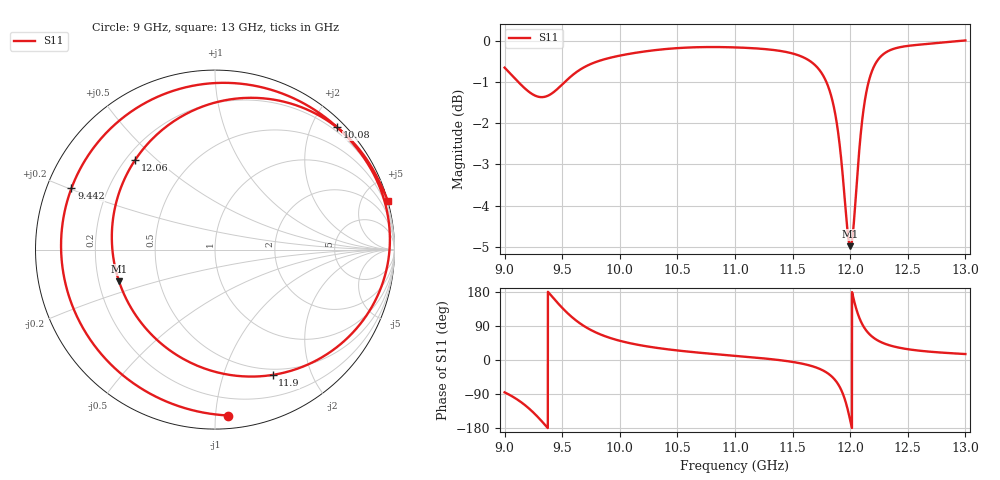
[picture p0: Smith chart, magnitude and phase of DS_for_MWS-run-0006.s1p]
! TOUCHSTONE file generated by CST DESIGN STUDIO
! Date and time: Tue Feb  4 14:26:49 2025
! Project name: C:\Work\MatlabApps\UnitCellOptimizationMatlab\CST\unitcell.cst
! Tree item: Tasks\Sweep1\SPara1\S-Parameters
! Header version: 2024
! Port assignment regex: !\s*Touchstone port\s*([0-9]+)\s*=\s*(CST MWS port|CST DES external port|CST DES block port)\s*(.+)\s* \(\"(.*)\"\)(\s*mode\s*([0-9]+))?.*
! Touchstone port assignment:
! Touchstone port 1 = CST DES external port 1 ("")
# GHz S MA R 50
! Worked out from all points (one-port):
!   4001 points, 9 GHz to 13 GHz, reference 50 ohm
!   lowest |S11| = -5.0 dB at 12 GHz (marker M1), VSWR 3.58, Z = 14.3 - j7.43 ohm
!   |S11| at or under -10 dB: nowhere
!   S11 on the Smith chart (normalised r, x): 9 GHz: 0.08, -1.08; 9.442 GHz: 0.07, +0.20; 10.08 GHz: 0.13, +2.40; 11.9 GHz: 0.43, -1.47; 12.06 GHz: 0.24, +0.43; 13 GHz: -0.01, +7.23
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9  0.9274 -85.4
9.122  0.89 -106.7
9.222  0.8646 -130.8
9.343  0.8546 -168.6
9.442  0.8698 156.9
9.5  0.8848 137.7
9.584  0.9069 113.3
9.677  0.9262 92.0
9.826  0.9457 68.2
10  0.9591 50.7
10.077  0.9635 45.1
10.5  0.9794 25.2
11  0.9813 11.0
11.5  0.9648 -5.1
11.765  0.9072 -27.7
11.839  0.8529 -43.2
11.898  0.7687 -65.3
11.952  0.6441 -102.4
12  0.5634 -158.9
12.002  0.5633 -161.6
12.028  0.5933 163.3
12.056  0.6693 131.5
12.085  0.7538 107.1
12.118  0.8294 87.3
12.221  0.9387 54.9
12.331  0.9715 39.7
12.5  0.9855 28.5
13  1.001 15.7
